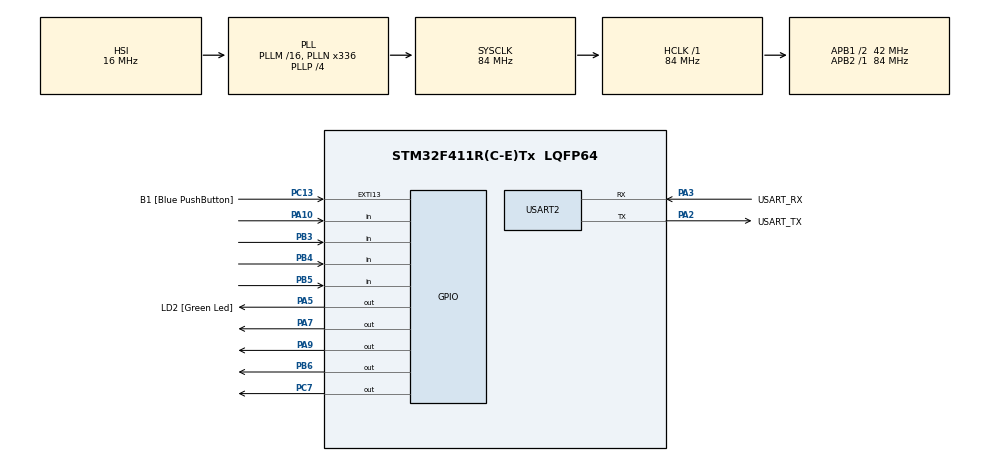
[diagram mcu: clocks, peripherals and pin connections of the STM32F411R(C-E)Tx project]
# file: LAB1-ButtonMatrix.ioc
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Mcu.Family=STM32F4
Mcu.Name=STM32F411R(C-E)Tx
Mcu.Package=LQFP64
NVIC.PriorityGroup=NVIC_PRIORITYGROUP_0
PA10.GPIO_PuPd=GPIO_PULLUP
PA10.Signal=GPIO_Input
PA13.GPIO_Label=TMS
PA13.Mode=Serial_Wire
PA13.Signal=SYS_JTMS-SWDIO
PA14.GPIO_Label=TCK
PA14.Mode=Serial_Wire
PA14.Signal=SYS_JTCK-SWCLK
PA2.GPIO_Label=USART_TX
PA2.Mode=Asynchronous
PA2.Signal=USART2_TX
PA3.GPIO_Label=USART_RX
PA3.Mode=Asynchronous
PA3.Signal=USART2_RX
PA5.GPIO_Label=LD2 [Green Led]
PA5.Signal=GPIO_Output
PA7.Signal=GPIO_Output
PA9.Signal=GPIO_Output
PB3.GPIO_PuPd=GPIO_PULLUP
PB3.Signal=GPIO_Input
PB4.GPIO_PuPd=GPIO_PULLUP
PB4.Signal=GPIO_Input
PB5.GPIO_PuPd=GPIO_PULLUP
PB5.Signal=GPIO_Input
PB6.Signal=GPIO_Output
PC13-ANTI_TAMP.GPIO_Label=B1 [Blue PushButton]
PC13-ANTI_TAMP.GPIO_ModeDefaultEXTI=GPIO_MODE_IT_FALLING
PC13-ANTI_TAMP.Signal=GPXTI13
PC14-OSC32_IN.Mode=LSE-External-Oscillator
PC14-OSC32_IN.Signal=RCC_OSC32_IN
PC15-OSC32_OUT.Mode=LSE-External-Oscillator
PC15-OSC32_OUT.Signal=RCC_OSC32_OUT
PC7.Signal=GPIO_Output
PH0\ -\ OSC_IN.Mode=HSE-External-Clock-Source
PH0\ -\ OSC_IN.Signal=RCC_OSC_IN
PH1\ -\ OSC_OUT.Mode=HSE-External-Clock-Source
PH1\ -\ OSC_OUT.Signal=RCC_OSC_OUT
ProjectManager.HeapSize=0x200
ProjectManager.StackSize=0x400
ProjectManager.TargetToolchain=STM32CubeIDE
RCC.48MHZClocksFreq_Value=84000000
RCC.AHBFreq_Value=84000000
RCC.APB1CLKDivider=RCC_HCLK_DIV2
RCC.APB1Freq_Value=42000000
RCC.APB1TimFreq_Value=84000000
RCC.APB2Freq_Value=84000000
RCC.APB2TimFreq_Value=84000000
RCC.CortexFreq_Value=84000000
RCC.FLatency-AdvancedSettings=FLASH_LATENCY_2
RCC.HCLKFreq_Value=84000000
RCC.HSE_VALUE=8000000
RCC.HSI_VALUE=16000000
RCC.PLLN=336
RCC.PLLP=RCC_PLLP_DIV4
RCC.SYSCLKFreq_VALUE=84000000
RCC.SYSCLKSource=RCC_SYSCLKSOURCE_PLLCLK
RCC.VCOOutputFreq_Value=336000000
USART2.VirtualMode=VM_ASYNC
board=NUCLEO-F411RE

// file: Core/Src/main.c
/* USER CODE BEGIN Header */
/**
  ******************************************************************************
  * @file           : main.c
  * @brief          : Main program body
  ******************************************************************************
  * @attention
  *
  * Copyright (c) 2023 STMicroelectronics.
  * All rights reserved.
  *
  * This software is licensed under terms that can be found in the LICENSE file
  * in the root directory of this software component.
  * If no LICENSE file comes with this software, it is provided AS-IS.
  *
  ******************************************************************************
  */
/* USER CODE END Header */
#include "main.h"

UART_HandleTypeDef huart2;

/* USER CODE BEGIN PV */

typedef struct PortAndPin
{
	GPIO_TypeDef* PORT;
	uint16_t PIN;
}PortPin;

//Declare PortPin R-L
PortPin R[4] =
{
		{GPIOA,GPIO_PIN_9},
		{GPIOC,GPIO_PIN_7},
		{GPIOB,GPIO_PIN_6},
		{GPIOA,GPIO_PIN_7}
};

PortPin L[4] =
{
		{GPIOA,GPIO_PIN_10},
		{GPIOB,GPIO_PIN_3},
		{GPIOB,GPIO_PIN_5},
		{GPIOB,GPIO_PIN_4}
};
//Variable for stack value from button matrix
uint16_t ButtonMatrix = 0;
//Variable State Machine
int state = 0;
int button_state = 0;
int last_button_state = 0;

/* USER CODE END PV */

void SystemClock_Config(void);
static void MX_GPIO_Init(void);
static void MX_USART2_UART_Init(void);

int main(void)
{

  /* MCU Configuration--------------------------------------------------------*/

  /* Reset of all peripherals, Initializes the Flash interface and the Systick. */
  HAL_Init();

  /* Configure the system clock */
  SystemClock_Config();

  /* Initialize all configured peripherals */
  MX_GPIO_Init();
  MX_USART2_UART_Init();
  /* USER CODE BEGIN 2 */
  void ReadMatrixButton_1Row();
  /* USER CODE END 2 */

  /* Infinite loop */
  while (1)
  {

    /* USER CODE BEGIN 3 */

	  //Call Function every 10milli seconds = 100Hz
	  static uint32_t timestamp = 0;
	  if(HAL_GetTick()>=timestamp)
	  {
		  timestamp = HAL_GetTick() + 10;
		  ReadMatrixButton_1Row();
	  }

	  //Check Button State
	  if(ButtonMatrix == 0)
	  {
		  button_state = 0;
	  }
	  else if(ButtonMatrix != 0)
	  {
		  button_state = 1;
	  }
	  //State Machine
	  switch(state)
	  {
	  	  case 0:
	  		  if(last_button_state == 0 && ButtonMatrix == 512)
	  		  {
	  			  state = 1;
	  		  }
	  		  else if(last_button_state == 0 && ButtonMatrix == 4096)
	  		  {
	  			  state = 98;
	  		  }
	  		  else if(last_button_state == 0 && button_state == 1 && (ButtonMatrix != 512 || ButtonMatrix != 4096))
	  		  {
	  			  state = 99;
	  		  }
	  		  break;

	  	  case 1:
	  		  if(last_button_state == 0 && ButtonMatrix == 2)
	  		  {
	  			  state = 2;
	  		  }
	  		  else if(last_button_state == 0 && ButtonMatrix == 4096)
	  		  {
	  			state = 98;
	  		  }
	  		  else if(last_button_state == 0 && button_state == 1 && (ButtonMatrix != 2 || ButtonMatrix != 4096))
	  		  {
	  			  state = 99;
	  		  }
	  		  break;

	  	  case 2:
	  		  if(last_button_state == 0 && ButtonMatrix == 1024)
	  		  {
	  			  state = 3;
	  		  }
	  		  else if(last_button_state == 0 && ButtonMatrix == 4096)
	  		  {
	  			state = 98;
	  		  }
	  		else if(last_button_state == 0 && button_state == 1 && (ButtonMatrix != 1024 || ButtonMatrix != 4096))
	  			  		  {
	  			  			  state = 99;
	  			  		  }
	  		  break;

	  	  case 3:
	  		  if(last_button_state == 0 && ButtonMatrix == 2)
	  		  {
	  			  state = 4;
	  		  }
	  		  else if(last_button_state == 0 && ButtonMatrix == 4096)
	  		  {
	  			state = 98;
	  		  }
	  		else if(last_button_state == 0 && button_state == 1 && (ButtonMatrix != 2 || ButtonMatrix != 4096))
	  			  		  {
	  			  			  state = 99;
	  			  		  }
	  		  break;

	  	  case 4:
	  		  if(last_button_state == 0 && ButtonMatrix == 8)
	  		  {
	  			  state = 5;
	  		  }
	  		  else if(last_button_state == 0 && ButtonMatrix == 4096)
	  		  {
	  			state = 98;
	  		  }
	  		else if(last_button_state == 0 && button_state == 1 && (ButtonMatrix != 8 || ButtonMatrix != 4096))
	  			  		  {
	  			  			  state = 99;
	  			  		  }
	  		  break;

	  	  case 5:
	  		  if(last_button_state == 0 && ButtonMatrix == 32)
	  		  {
	  		  	  state = 6;
	  		  }
	  		  else if(last_button_state == 0 && ButtonMatrix == 4096)
	  		  {
	  			state = 98;
	  		  }
	  		else if(last_button_state == 0 && button_state == 1 && (ButtonMatrix != 32 || ButtonMatrix != 4096))
	  			  		  {
	  			  			  state = 99;
	  			  		  }
	  		  break;

	  	  case 6:
	  		  if(last_button_state == 0 && ButtonMatrix == 8)
	  		  {
	  			  state = 7;
	  		  }
	  		  else if(last_button_state == 0 && ButtonMatrix == 4096)
	  		  {
	  			  state =98;
	  		  }
	  		else if(last_button_state == 0 && button_state == 1 && (ButtonMatrix != 8 || ButtonMatrix != 4096))
	  			  		  {
	  			  			  state = 99;
	  			  		  }
	  		  break;

	  	  case 7:
	  		  if(last_button_state == 0 && ButtonMatrix == 8)
	  		  {
	  		  	   state = 8;
	  		  }
	  		  else if(last_button_state == 0 && ButtonMatrix == 4096)
	  		  {
	  			state = 98;
	  		  }
	  		else if(last_button_state == 0 && button_state == 1 && (ButtonMatrix != 8 || ButtonMatrix != 4096))
	  			  		  {
	  			  			  state = 99;
	  			  		  }
	  		  break;
	  	  case 8:
	  		  if(last_button_state == 0 && ButtonMatrix == 8)
	  		  	  {
	  			  	  state = 9;
	  		  	  }
	  		 else if(last_button_state == 0 && ButtonMatrix == 4096)
	  			{
	  				state = 98;
	  			}
	  		else if(last_button_state == 0 && button_state == 1 && (ButtonMatrix != 8 || ButtonMatrix != 4096))
	  			{
	  			 	state = 99;
	  			}
	  		break;

	  	  case 9:
	  		  if(last_button_state == 0 && ButtonMatrix == 512)
	  		  {
	  			  state = 10;
	  		  }
	  		  else if(last_button_state == 0 && ButtonMatrix == 4096)
	  		  {
	  			state = 98;
	  		  }
	  		else if(last_button_state == 0 && button_state == 1 && (ButtonMatrix != 512 || ButtonMatrix != 4096))
	  			  		  {
	  			  			  state = 99;
	  			  		  }
	  		  break;

	  	  case 10:
	  		  if(last_button_state == 0 && ButtonMatrix == 8)
	  		  {
	  			  state = 11;
	  		  }
	  		  else if(last_button_state == 0 && ButtonMatrix == 4096)
	  		  {
	  			state =98;
	  		  }
	  		else if(last_button_state == 0 && button_state == 1 && (ButtonMatrix != 8 || ButtonMatrix != 4096))
	  			  		  {
	  			  			  state = 99;
	  			  		  }
	  		  break;

	  	  case 11:
	  		  if(last_button_state == 0 && ButtonMatrix == 32768)
	  		  {
	  			HAL_GPIO_WritePin(GPIOA, GPIO_PIN_5, GPIO_PIN_SET);
	  			state = 99;
	  		  }
	  		  else if(last_button_state == 0 && ButtonMatrix == 4096)
	  		  {
	  			state = 98;
	  		  }
	  		else if(last_button_state == 0 && button_state == 1 && (ButtonMatrix != 32768 || ButtonMatrix != 4096))
	  			  		  {
	  			  			  state = 99;
	  			  		  }
	  		  break;

	  	  case 98:
	  		HAL_GPIO_WritePin(GPIOA, GPIO_PIN_5, GPIO_PIN_RESET);
	  		if(last_button_state == 0 && ButtonMatrix == 512)
	  		{
	  			state = 1;
	  		}
	  		break;

	  	//else case
	  	  case 99:
	  		  if(last_button_state == 0 && ButtonMatrix == 4096)
	  		  {
	  			  state = 98;
	  		  }
	  		  break;
	  }
	  last_button_state = button_state;
  }
  /* USER CODE END 3 */
}

void SystemClock_Config(void)
{
  RCC_OscInitTypeDef RCC_OscInitStruct = {0};
  RCC_ClkInitTypeDef RCC_ClkInitStruct = {0};

  /** Configure the main internal regulator output voltage
  */
  __HAL_RCC_PWR_CLK_ENABLE();
  __HAL_PWR_VOLTAGESCALING_CONFIG(PWR_REGULATOR_VOLTAGE_SCALE1);

  /** Initializes the RCC Oscillators according to the specified parameters
  * in the RCC_OscInitTypeDef structure.
  */
  RCC_OscInitStruct.OscillatorType = RCC_OSCILLATORTYPE_HSI;
  RCC_OscInitStruct.HSIState = RCC_HSI_ON;
  RCC_OscInitStruct.HSICalibrationValue = RCC_HSICALIBRATION_DEFAULT;
  RCC_OscInitStruct.PLL.PLLState = RCC_PLL_ON;
  RCC_OscInitStruct.PLL.PLLSource = RCC_PLLSOURCE_HSI;
  RCC_OscInitStruct.PLL.PLLM = 16;
  RCC_OscInitStruct.PLL.PLLN = 336;
  RCC_OscInitStruct.PLL.PLLP = RCC_PLLP_DIV4;
  RCC_OscInitStruct.PLL.PLLQ = 4;
  if (HAL_RCC_OscConfig(&RCC_OscInitStruct) != HAL_OK)
  {
    Error_Handler();
  }

  /** Initializes the CPU, AHB and APB buses clocks
  */
  RCC_ClkInitStruct.ClockType = RCC_CLOCKTYPE_HCLK|RCC_CLOCKTYPE_SYSCLK
                              |RCC_CLOCKTYPE_PCLK1|RCC_CLOCKTYPE_PCLK2;
  RCC_ClkInitStruct.SYSCLKSource = RCC_SYSCLKSOURCE_PLLCLK;
  RCC_ClkInitStruct.AHBCLKDivider = RCC_SYSCLK_DIV1;
  RCC_ClkInitStruct.APB1CLKDivider = RCC_HCLK_DIV2;
  RCC_ClkInitStruct.APB2CLKDivider = RCC_HCLK_DIV1;

  if (HAL_RCC_ClockConfig(&RCC_ClkInitStruct, FLASH_LATENCY_2) != HAL_OK)
  {
    Error_Handler();
  }
}

static void MX_USART2_UART_Init(void)
{

  huart2.Instance = USART2;
  huart2.Init.BaudRate = 115200;
  huart2.Init.WordLength = UART_WORDLENGTH_8B;
  huart2.Init.StopBits = UART_STOPBITS_1;
  huart2.Init.Parity = UART_PARITY_NONE;
  huart2.Init.Mode = UART_MODE_TX_RX;
  huart2.Init.HwFlowCtl = UART_HWCONTROL_NONE;
  huart2.Init.OverSampling = UART_OVERSAMPLING_16;
  if (HAL_UART_Init(&huart2) != HAL_OK)
  {
    Error_Handler();
  }

}

static void MX_GPIO_Init(void)
{
  GPIO_InitTypeDef GPIO_InitStruct = {0};

  /* GPIO Ports Clock Enable */
  __HAL_RCC_GPIOC_CLK_ENABLE();
  __HAL_RCC_GPIOH_CLK_ENABLE();
  __HAL_RCC_GPIOA_CLK_ENABLE();
  __HAL_RCC_GPIOB_CLK_ENABLE();

  /*Configure GPIO pin Output Level */
  HAL_GPIO_WritePin(GPIOA, LD2_Pin|GPIO_PIN_7|GPIO_PIN_9, GPIO_PIN_RESET);

  /*Configure GPIO pin Output Level */
  HAL_GPIO_WritePin(GPIOC, GPIO_PIN_7, GPIO_PIN_RESET);

  /*Configure GPIO pin Output Level */
  HAL_GPIO_WritePin(GPIOB, GPIO_PIN_6, GPIO_PIN_RESET);

  /*Configure GPIO pin : B1_Pin */
  GPIO_InitStruct.Pin = B1_Pin;
  GPIO_InitStruct.Mode = GPIO_MODE_IT_FALLING;
  GPIO_InitStruct.Pull = GPIO_NOPULL;
  HAL_GPIO_Init(B1_GPIO_Port, &GPIO_InitStruct);

  /*Configure GPIO pins : LD2_Pin PA7 PA9 */
  GPIO_InitStruct.Pin = LD2_Pin|GPIO_PIN_7|GPIO_PIN_9;
  GPIO_InitStruct.Mode = GPIO_MODE_OUTPUT_PP;
  GPIO_InitStruct.Pull = GPIO_NOPULL;
  GPIO_InitStruct.Speed = GPIO_SPEED_FREQ_LOW;
  HAL_GPIO_Init(GPIOA, &GPIO_InitStruct);

  /*Configure GPIO pin : PC7 */
  GPIO_InitStruct.Pin = GPIO_PIN_7;
  GPIO_InitStruct.Mode = GPIO_MODE_OUTPUT_PP;
  GPIO_InitStruct.Pull = GPIO_NOPULL;
  GPIO_InitStruct.Speed = GPIO_SPEED_FREQ_LOW;
  HAL_GPIO_Init(GPIOC, &GPIO_InitStruct);

  /*Configure GPIO pin : PA10 */
  GPIO_InitStruct.Pin = GPIO_PIN_10;
  GPIO_InitStruct.Mode = GPIO_MODE_INPUT;
  GPIO_InitStruct.Pull = GPIO_PULLUP;
  HAL_GPIO_Init(GPIOA, &GPIO_InitStruct);

  /*Configure GPIO pins : PB3 PB4 PB5 */
  GPIO_InitStruct.Pin = GPIO_PIN_3|GPIO_PIN_4|GPIO_PIN_5;
  GPIO_InitStruct.Mode = GPIO_MODE_INPUT;
  GPIO_InitStruct.Pull = GPIO_PULLUP;
  HAL_GPIO_Init(GPIOB, &GPIO_InitStruct);

  /*Configure GPIO pin : PB6 */
  GPIO_InitStruct.Pin = GPIO_PIN_6;
  GPIO_InitStruct.Mode = GPIO_MODE_OUTPUT_PP;
  GPIO_InitStruct.Pull = GPIO_NOPULL;
  GPIO_InitStruct.Speed = GPIO_SPEED_FREQ_LOW;
  HAL_GPIO_Init(GPIOB, &GPIO_InitStruct);

}

/* USER CODE BEGIN 4 */

void ReadMatrixButton_1Row() {
	//Define Variable
    static uint8_t X = 0;
    register int i;
    //Read
    for (i = 0; i < 4; i++) {
        if (HAL_GPIO_ReadPin(L[i].PORT, L[i].PIN)) {
            ButtonMatrix &= ~(1 << (X * 4 + i));
        } else {
            ButtonMatrix |= 1 << (X * 4 + i);
        }
    }
    //Set
    HAL_GPIO_WritePin(R[X].PORT, R[X].PIN, 1);
    HAL_GPIO_WritePin(R[(X + 1) % 4].PORT, R[(X + 1) % 4].PIN, 0);
    X++;
    X %= 4;
}

/* USER CODE END 4 */

void Error_Handler(void)
{
  __disable_irq();
  while (1)
  {
  }
}
